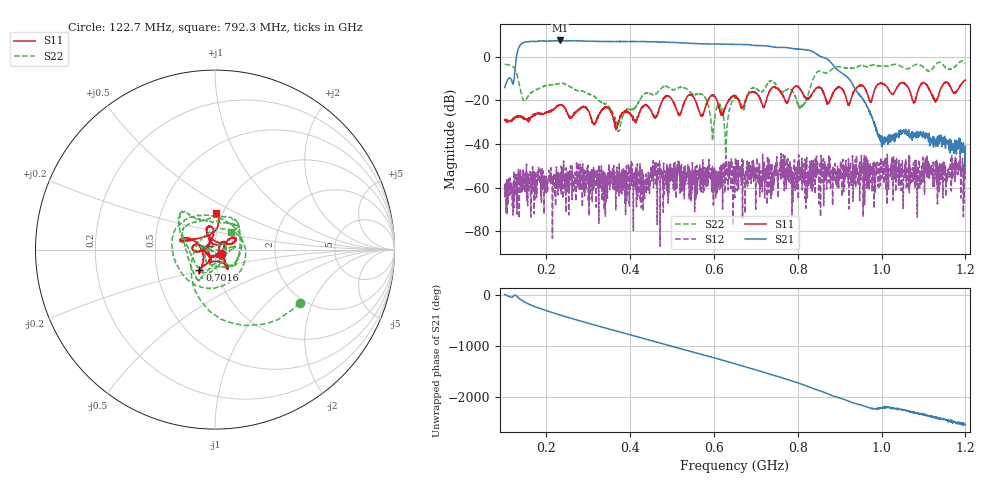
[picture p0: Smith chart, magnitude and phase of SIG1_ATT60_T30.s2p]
# Hz S DB R 50
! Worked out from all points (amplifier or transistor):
!   1601 points, 100 MHz to 1.2 GHz, reference 50 ohm
!   highest |S21| = 7.4 dB at 232 MHz (marker M1)
!   |S21| within 3 dB of that: 134.3 MHz to 741.2 MHz (606.8 MHz wide, 139 % of centre)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
!   unconditionally stable (mu >= 1): start of sweep to end of sweep
!   at 282.9 MHz: K = 202.51, MAG = 7.4 dB, |S12| = -59.7 dB
!   at 650 MHz: K = 85.43, MAG = 5.7 dB, |S12| = -50.5 dB
!   at 1.2 GHz: K = 10924.38, MAG = -37.8 dB, |S12| = -52.2 dB
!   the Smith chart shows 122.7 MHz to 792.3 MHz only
!   S11 on the Smith chart (normalised r, x): 122.7 MHz: 1.06, -0.05; 701.6 MHz: 0.82, -0.19; 792.3 MHz: 0.93, +0.39
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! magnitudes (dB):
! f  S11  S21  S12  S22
! 100 MHz  -28.8  -14.2  -58.2  -3.6
! 122.7 MHz  -28.3  -10.3  -52.5  -5.1
! 147.4 MHz  -28.0  6.6  -55.6  -20.4
! 232 MHz  -22.2  7.4  -56.3  -12.2
! 283.6 MHz  -23.3  7.2  -53.3  -15.8
! 372.2 MHz  -29.3  6.9  -53.9  -33.8
! 467.1 MHz  -25.7  6.7  -52.7  -15.9
! 543.4 MHz  -17.3  6.1  -57.5  -16.4
! 570.9 MHz  -26.9  5.9  -56.7  -17.2
! 596.4 MHz  -17.9  5.8  -50.4  -38.6
! 614.9 MHz  -25.6  5.8  -60.1  -22.9
! 628 MHz  -22.9  5.7  -56.7  -46.4
! 650 MHz  -18.1  5.6  -50.5  -19.2
! 701.6 MHz  -17.0  5.0  -55.5  -14.8
! 792.3 MHz  -13.8  3.6  -48.4  -17.7
! 808.8 MHz  -15.9  3.3  -55.6  -23.1
! 833.6 MHz  -17.4  2.5  -51.5  -11.9
! 920.9 MHz  -22.1  -9.9  -46.8  -5.2
! 1.017 GHz  -15.3  -36.7  -52.7  -4.3
! 1.101 GHz  -12.0  -35.2  -56.6  -5.0
! 1.129 GHz  -20.8  -38.1  -48.2  -3.8
! 1.2 GHz  -10.8  -41.1  -52.2  -3.2
